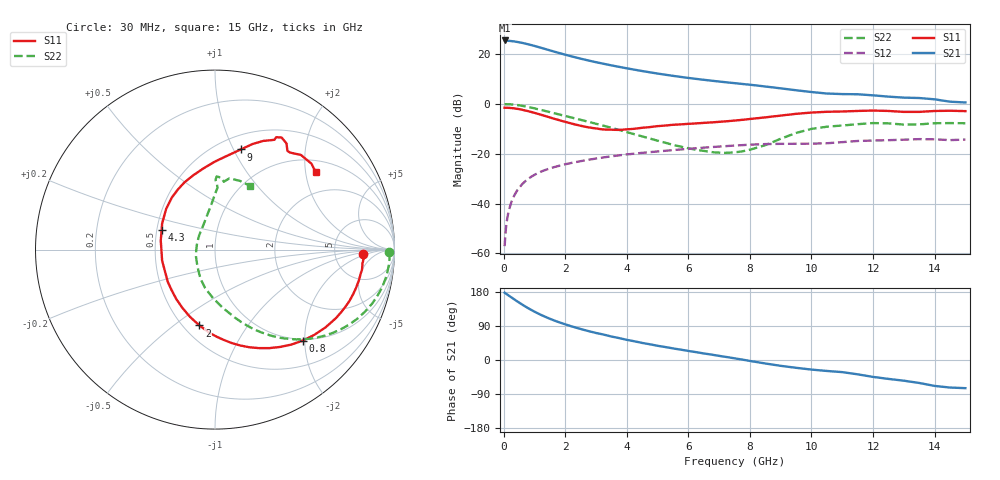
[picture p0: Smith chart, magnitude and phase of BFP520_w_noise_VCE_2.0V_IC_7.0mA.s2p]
! Infineon Technologies  Discrete & RF Semiconductors
! BFP520
! VCE =  2.0 V,  IC =  7.0 mA
! Common Emitter S-Parameters:  Oct 2015
# GHz  S  MA  R  50
!  f  S11  S21  S12  S22
! GHz  MAG  ANG  MAG  ANG  MAG  ANG  MAG  ANG
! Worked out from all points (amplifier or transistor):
!   109 points, 30 MHz to 15 GHz, reference 50 ohm
!   highest |S21| = 25.3 dB at 30 MHz (marker M1)
!   |S21| within 3 dB of that: start of sweep to 1.231 GHz
!   unconditionally stable (mu >= 1): 3.818 GHz to end of sweep
!   at 450 MHz: K = 0.18, MSG = 29.6 dB, |S12| = -34.6 dB
!   at 4 GHz: K = 1.02, MAG = 16.3 dB, |S12| = -20.3 dB
!   at 15 GHz: K = 1.34, MAG = 3.9 dB, |S12| = -14.4 dB
!   lowest NFmin = 1.34 dB at 900 MHz
!   S11 on the Smith chart (normalised r, x): 30 MHz: 10, -2; 800 MHz: 0.97, -1.96; 2 GHz: 0.60, -0.62; 4.3 GHz: 0.53, +0.13; 9 GHz: 0.64, +1.07; 15 GHz: 1.32, +2.28
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0.03  0.8276 -1.7  18.39 177.6  0.0014 72.9  0.9707 -0.9
0.1  0.8257 -6.0  18.1 173.7  0.0044 82.1  0.9734 -3.7
0.25  0.8147 -15.0  17.86 165.2  0.0107 80.9  0.9637 -9.7
0.45  0.7836 -26.7  17.13 154.2  0.0187 76.3  0.9347 -17.2
0.6  0.7528 -35.2  16.45 146.3  0.0244 72.6  0.9036 -22.6
0.8  0.7046 -46.0  15.37 136.5  0.0313 67.9  0.8554 -29.3
0.9  0.6789 -51.2  14.84 132.0  0.0345 65.9  0.8297 -32.4
1.1  0.6269 -61.1  13.72 123.5  0.0404 62.0  0.7769 -38.1
1.4  0.5526 -75.2  12.14 112.3  0.0481 57.2  0.6993 -45.5
1.7  0.4863 -88.7  10.73 102.5  0.0548 53.2  0.629 -51.9
2  0.4314 -101.6  9.546 94.1  0.061 50.0  0.5656 -57.5
2.6  0.3503 -127.9  7.68 79.6  0.0723 44.4  0.4575 -67.3
3  0.3186 -145.6  6.75 71.3  0.0795 41.0  0.3949 -73.7
3.5  0.301 -168.2  5.827 61.9  0.0882 36.8  0.3274 -82.4
4.3  0.3164 160.2  4.72 48.5  0.1004 30.0  0.2388 -99.2
5.1  0.3579 137.9  3.915 36.2  0.1116 23.9  0.1744 -118.5
6.1  0.3966 120.2  3.212 22.6  0.1258 16.4  0.1239 -144.9
7.6  0.4638 96.2  2.531 3.1  0.1458 4.0  0.1076 154.5
9  0.5759 75.6  2.021 -15.4  0.1566 -9.1  0.1981 102.5
10.5  0.6864 62.7  1.592 -28.9  0.1609 -17.4  0.3449 87.7
13  0.6825 53.8  1.318 -54.6  0.1896 -37.2  0.3809 82.5
15  0.7076 37.5  1.054 -74.3  0.1906 -52.8  0.4049 61.3
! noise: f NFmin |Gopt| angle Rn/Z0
0.45  1.35  0.39  2  0.3
0.9  1.34  0.38  9  0.32
1.9  1.57  0.33  19  0.27
2.4  1.57  0.29  30  0.27
3.5  1.5  0.27  54  0.26
